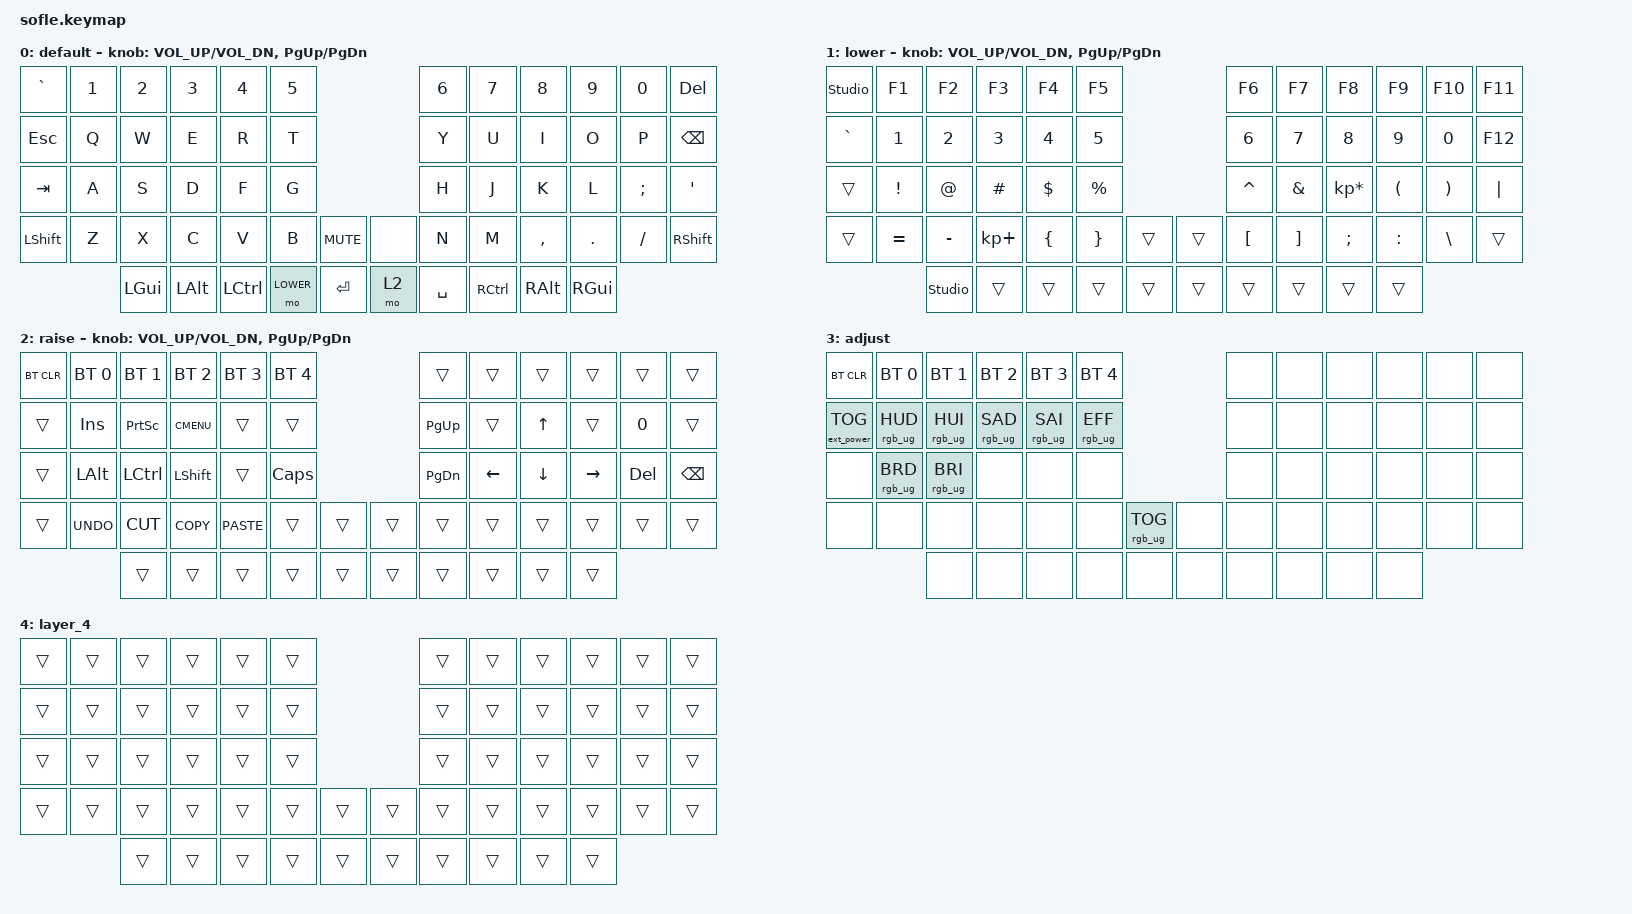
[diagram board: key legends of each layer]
/*
 * Copyright (c) 2020 The ZMK Contributors
 *
 * SPDX-License-Identifier: MIT
 */

#include <dt-bindings/zmk/rgb_colors.h>
#include <behaviors.dtsi>
#include <dt-bindings/zmk/bt.h>
#include <dt-bindings/zmk/ext_power.h>
#include <dt-bindings/zmk/keys.h>
#include <dt-bindings/zmk/rgb.h>

#define BASE 0
#define LOWER 1
#define RAISE 2
#define ADJUST 3

/ {
    // Activate ADJUST layer by pressing raise and lower

    conditional_layers {
        compatible = "zmk,conditional-layers";

        adjust_layer {
            if-layers = <LOWER RAISE>;
            then-layer = <ADJUST>;
        };
    };

    underglow-layer {
        compatible = "zmk,underglow-layer";

        base {
            layer-id = <0>;
            bindings = <
&ug RED    &ug RED    &ug RED    &ug RED    &ug RED    &ug RED
&ug RED    &ug RED    &ug RED    &ug RED    &ug RED    &ug RED
&ug RED    &ug RED    &ug RED    &ug RED    &ug RED    &ug RED
&ug RED    &ug RED    &ug RED    &ug RED    &ug RED
&ug RED    &ug RED    &ug RED    &ug RED    &ug RED
            >;
        };

        lower {
            layer-id = <1>;
            bindings = <
&ug GREEN  &ug GREEN  &ug GREEN  &ug GREEN  &ug GREEN  &ug GREEN
&ug GREEN  &ug GREEN  &ug GREEN  &ug GREEN  &ug GREEN  &ug GREEN
&ug GREEN  &ug GREEN  &ug GREEN  &ug GREEN  &ug GREEN  &ug GREEN
&ug GREEN  &ug GREEN  &ug GREEN  &ug GREEN  &ug GREEN
&ug GREEN  &ug GREEN  &ug GREEN  &ug GREEN  &ug GREEN
            >;
        };

        raise {
            layer-id = <2>;
            bindings = <
&ug BLUE   &ug BLUE   &ug BLUE   &ug BLUE   &ug BLUE   &ug BLUE
&ug BLUE   &ug BLUE   &ug BLUE   &ug BLUE   &ug BLUE   &ug BLUE
&ug BLUE   &ug BLUE   &ug BLUE   &ug BLUE   &ug BLUE   &ug BLUE
&ug BLUE   &ug BLUE   &ug BLUE   &ug BLUE   &ug BLUE
&ug BLUE   &ug BLUE   &ug BLUE   &ug BLUE   &ug BLUE
            >;
        };

        adjust {
            layer-id = <3>;
            bindings = <
&ug PURPLE &ug PURPLE &ug PURPLE &ug PURPLE &ug PURPLE &ug PURPLE
&ug PURPLE &ug PURPLE &ug PURPLE &ug PURPLE &ug PURPLE &ug PURPLE
&ug PURPLE &ug PURPLE &ug PURPLE &ug PURPLE &ug PURPLE &ug PURPLE
&ug PURPLE &ug PURPLE &ug PURPLE &ug PURPLE &ug PURPLE
&ug PURPLE &ug PURPLE &ug PURPLE &ug PURPLE &ug PURPLE
            >;
        };
    };

    keymap {
        compatible = "zmk,keymap";

        default_layer {
            label = "default";

            // ------------------------------------------------------------------------------------------------------------
            // |   `   |  1  |  2  |  3   |  4   |  5   |                   |  6   |  7    |  8    |  9   |   0   |       |
            // |  ESC  |  Q  |  W  |  E   |  R   |  T   |                   |  Y   |  U    |  I    |  O   |   P   | BKSPC |
            // |  TAB  |  A  |  S  |  D   |  F   |  G   |                   |  H   |  J    |  K    |  L   |   ;   |   '   |
            // | SHIFT |  Z  |  X  |  C   |  V   |  B   |  MUTE  |  |       |  N   |  M    |  ,    |  .   |   /   | SHIFT |
            //               | GUI | ALT  | CTRL | LOWER|  ENTER |  | SPACE | RAISE| CTRL  | ALT   | GUI  |

            bindings = <
&kp GRAVE  &kp N1  &kp N2    &kp N3    &kp N4     &kp N5                          &kp N6     &kp N7     &kp N8     &kp N9    &kp N0    &kp DELETE
&kp ESC    &kp Q   &kp W     &kp E     &kp R      &kp T                           &kp Y      &kp U      &kp I      &kp O     &kp P     &kp BSPC
&kp TAB    &kp A   &kp S     &kp D     &kp F      &kp G                           &kp H      &kp J      &kp K      &kp L     &kp SEMI  &kp SQT
&kp LSHFT  &kp Z   &kp X     &kp C     &kp V      &kp B      &kp C_MUTE    &none  &kp N      &kp M      &kp COMMA  &kp DOT   &kp FSLH  &kp RSHFT
                   &kp LGUI  &kp LALT  &kp LCTRL  &mo LOWER  &kp RET       &mo 2  &kp SPACE  &kp RCTRL  &kp RALT   &kp RGUI
            >;

            sensor-bindings = <&inc_dec_kp C_VOL_UP C_VOL_DN &inc_dec_kp PG_UP PG_DN>;
        };

        lower_layer {
            label = "lower";

            // TODO: Some binds are waiting for shifted keycode support.
            // ------------------------------------------------------------------------------------------------------------
            // |       |  F1 |  F2 |  F3  |  F4  |  F5  |                   |  F6  |  F7   |  F8   |  F9  |  F10  |  F11  |
            // |   `   |  1  |  2  |  3   |  4   |  5   |                   |  6   |  7    |  8    |  9   |   0   |  F12  |
            // |       |  !  |  @  |  #   |  $   |  %   |                   |  ^   |  &    |  *    |  (   |   )   |   |   |
            // |       |  =  |  -  |  +   |  {   |  }   |        |  |       |  [   |  ]    |  ;    |  :   |   \   |       |
            //               |     |      |      |      |        |  |       |      |       |       |      |

            bindings = <
&studio_unlock  &kp F1     &kp F2          &kp F3       &kp F4    &kp F5                       &kp F6     &kp F7    &kp F8           &kp F9     &kp F10   &kp F11
&kp GRAVE       &kp N1     &kp N2          &kp N3       &kp N4    &kp N5                       &kp N6     &kp N7    &kp N8           &kp N9     &kp N0    &kp F12
&trans          &kp EXCL   &kp AT          &kp HASH     &kp DLLR  &kp PRCNT                    &kp CARET  &kp AMPS  &kp KP_MULTIPLY  &kp LPAR   &kp RPAR  &kp PIPE
&trans          &kp EQUAL  &kp MINUS       &kp KP_PLUS  &kp LBRC  &kp RBRC   &trans    &trans  &kp LBKT   &kp RBKT  &kp SEMI         &kp COLON  &kp BSLH  &trans
                           &studio_unlock  &trans       &trans    &trans     &trans    &trans  &trans     &trans    &trans           &trans
            >;

            sensor-bindings = <&inc_dec_kp C_VOL_UP C_VOL_DN &inc_dec_kp PG_UP PG_DN>;
        };

        raise_layer {
            label = "raise";

            // ------------------------------------------------------------------------------------------------------------
            // | BTCLR | BT1  | BT2  |  BT3  |  BT4  |  BT5 |                |      |      |       |      |       |       |
            // |       | INS  | PSCR | GUI   |       |      |                | PGUP |      |   ^   |      |       |       |
            // |       | ALT  | CTRL | SHIFT |       | CAPS |                | PGDN |   <- |   v   |  ->  |  DEL  | BKSPC |
            // |       | UNDO | CUT  | COPY  | PASTE |      |      |  |      |      |      |       |      |       |       |
            //                |      |       |       |      |      |  |      |      |      |       |      |

            bindings = <
&bt BT_CLR  &bt BT_SEL 0  &bt BT_SEL 1  &bt BT_SEL 2  &bt BT_SEL 3  &bt BT_SEL 4                    &trans     &trans    &trans    &trans     &trans   &trans
&trans      &kp INS       &kp PSCRN     &kp K_CMENU   &trans        &trans                          &kp PG_UP  &trans    &kp UP    &trans     &kp N0   &trans
&trans      &kp LALT      &kp LCTRL     &kp LSHFT     &trans        &kp CLCK                        &kp PG_DN  &kp LEFT  &kp DOWN  &kp RIGHT  &kp DEL  &kp BSPC
&trans      &kp K_UNDO    &kp K_CUT     &kp K_COPY    &kp K_PASTE   &trans        &trans    &trans  &trans     &trans    &trans    &trans     &trans   &trans
                          &trans        &trans        &trans        &trans        &trans    &trans  &trans     &trans    &trans    &trans
            >;

            sensor-bindings = <&inc_dec_kp C_VOL_UP C_VOL_DN &inc_dec_kp PG_UP PG_DN>;
        };

        adjust_layer {
            // ----------------------------------------------------------------------------------------------------------------------------
            // | BTCLR  |  BT1    |  BT2    |   BT3   |   BT4   |   BT5   |                  |      |      |       |      |       |       |
            // | EXTPWR | RGB_HUD | RGB_HUI | RGB_SAD | RGB_SAI | RGB_EFF |                  |      |      |       |      |       |       |
            // |        | RGB_BRD | RGB_BRI |         |         |         |                  |      |      |       |      |       |       |
            // |        |         |         |         |         |         | RGB_TOG | |      |      |      |       |      |       |       |
            //                    |         |         |         |         |         | |      |      |      |       |      |

            label = "adjust";
            bindings = <
&bt BT_CLR         &bt BT_SEL 0     &bt BT_SEL 1     &bt BT_SEL 2     &bt BT_SEL 3     &bt BT_SEL 4                               &none  &none  &none  &none  &none  &none
&ext_power EP_TOG  &rgb_ug RGB_HUD  &rgb_ug RGB_HUI  &rgb_ug RGB_SAD  &rgb_ug RGB_SAI  &rgb_ug RGB_EFF                            &none  &none  &none  &none  &none  &none
&none              &rgb_ug RGB_BRD  &rgb_ug RGB_BRI  &none            &none            &none                                      &none  &none  &none  &none  &none  &none
&none              &none            &none            &none            &none            &none            &rgb_ug RGB_TOG    &none  &none  &none  &none  &none  &none  &none
                                    &none            &none            &none            &none            &none              &none  &none  &none  &none  &none
            >;
        };

        layer_4 {
            bindings = <
&trans  &trans  &trans  &trans  &trans  &trans                    &trans  &trans  &trans  &trans  &trans  &trans
&trans  &trans  &trans  &trans  &trans  &trans                    &trans  &trans  &trans  &trans  &trans  &trans
&trans  &trans  &trans  &trans  &trans  &trans                    &trans  &trans  &trans  &trans  &trans  &trans
&trans  &trans  &trans  &trans  &trans  &trans  &trans    &trans  &trans  &trans  &trans  &trans  &trans  &trans
                &trans  &trans  &trans  &trans  &trans    &trans  &trans  &trans  &trans  &trans
            >;
        };
    };
};
